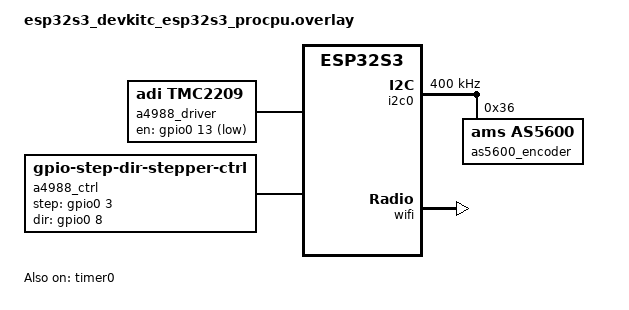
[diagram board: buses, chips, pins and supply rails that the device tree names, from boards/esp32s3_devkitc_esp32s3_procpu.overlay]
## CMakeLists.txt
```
cmake_minimum_required(VERSION 3.20.0)

list(APPEND ZEPHYR_EXTRA_MODULES
        "${CMAKE_CURRENT_LIST_DIR}/../../../zenbedded_transport"
        "${CMAKE_CURRENT_LIST_DIR}/../../../zenbedded_rcl"
)

find_package(Zephyr REQUIRED HINTS $ENV{ZEPHYR_BASE})

project(inverted_pendulum_tier1)
target_sources(app PRIVATE src/main.cpp)
target_compile_definitions(app PRIVATE _GNU_SOURCE _USE_MATH_DEFINES)
```

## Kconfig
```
menu "Inverted Pendulum Tier1 Demo"

config NTP_SERVER
    string "ip address of ntp server"
    default "127.0.0.1"

endmenu

source "Kconfig.zephyr"
```

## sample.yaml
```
sample:
  name: Inverted Pendulum Tier1 Demo
common:
  build_only: true
  tags: zenoh
tests:
  sample.zenbedded.inverted_pendulum_tier1:
    platform_allow:
      - esp32s3_devkitc/esp32s3/procpu
```

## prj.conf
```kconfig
CONFIG_CPP=y
CONFIG_STD_CPP17=y
CONFIG_REQUIRES_FULL_LIBC=y

CONFIG_ZENBEDDED_TIER_1=y
CONFIG_ZENBEDDED_RCL=y
CONFIG_ZENBEDDED_RCL_PUB_TOPIC="/zenbedded/inverted_pendulum/state"
CONFIG_ZENBEDDED_RCL_SUB_TOPIC="/zenbedded/inverted_pendulum/cmd"

CONFIG_NTP_SERVER="10.251.102.128"
CONFIG_ZENBEDDED_ZENOH_IP_PORT="10.251.102.128:7447"
CONFIG_ZENBEDDED_NODE_NAME="inverted_pendulum"
CONFIG_ZENBEDDED_QOS_RELIABLE=y

CONFIG_SHELL=y
CONFIG_NET_DHCPV4=y
CONFIG_WIFI=y
CONFIG_WIFI_CREDENTIALS_SHELL=y
CONFIG_WIFI_NM=y
CONFIG_WIFI_CREDENTIALS=y
CONFIG_WIFI_CREDENTIALS_CONNECT_STORED=y

CONFIG_STEPPER=y
CONFIG_GPIO=y
CONFIG_I2C=y
CONFIG_SENSOR=y
CONFIG_COUNTER=y
CONFIG_SNTP=y
```

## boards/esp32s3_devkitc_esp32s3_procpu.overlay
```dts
#include <zephyr/dt-bindings/gpio/gpio.h>

/ {
	aliases {
		stepper-driver = &a4988_driver;
		stepper-ctrl = &a4988_ctrl;
		encoder-driver = &as5600_encoder;
	};

	a4988_driver: a4988-stepper-driver {
		compatible = "adi,tmc2209";
		en-gpios = <&gpio0 13 GPIO_ACTIVE_LOW>;
		micro-step-res = <16>;
	};

	a4988_ctrl: a4988-stepper-controller {
		compatible = "zephyr,gpio-step-dir-stepper-ctrl";
		step-gpios = <&gpio0 3 GPIO_ACTIVE_HIGH>;
		dir-gpios = <&gpio0 8 GPIO_ACTIVE_HIGH>;
		stepper-driver = <&a4988_driver>;
		counter = <&counter0>;
	};

// Enable this and replace the alias for drivers like DRVxxx and TMC2209 so you can control microstepping

//	tmc2209_driver: tmc2209-stepper-driver {
//		compatible = "adi,tmc2209";
//		en-gpios = <&gpio0 4 GPIO_ACTIVE_HIGH>;
//		m0-gpios = <&gpio0 5 GPIO_ACTIVE_HIGH>;
//		m1-gpios = <&gpio0 6 GPIO_ACTIVE_HIGH>;
//		micro-step-res = <32>;
//	};
//
//	tmc2209_ctrl: tmc2209-stepper-controller {
//		compatible = "zephyr,gpio-step-dir-stepper-ctrl";
//		step-gpios = <&gpio0 7 GPIO_ACTIVE_HIGH>;
//		dir-gpios = <&gpio0 8 GPIO_ACTIVE_HIGH>;
//		invert-direction;
//		stepper-driver = <&tmc2209_driver>;
//      counter = <&counter0>;
//	};
};


&pinctrl {
	i2c0_default: i2c0_default {
		group1 {
			pinmux = <I2C0_SDA_GPIO1>, <I2C0_SCL_GPIO2>;
			bias-pull-up;
			drive-open-drain;
			output-high;
		};
	};
};


&i2c0 {
	status = "okay";
	pinctrl-0 = <&i2c0_default>;
	pinctrl-names = "default";
	clock-frequency = <I2C_BITRATE_FAST>;

	as5600_encoder: as5600@36 {
		compatible = "ams,as5600";
		reg = <0x36>;
		status = "okay";
	};
};


&wifi {
	status = "okay";
};


&timer0 {
	status = "okay";

	counter0: counter {
		status = "okay";
	};
};
```

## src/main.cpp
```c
// Copyright 2026 Open Source Robotics Foundation, Inc.
//
// Licensed under the Apache License, Version 2.0 (the "License");
// you may not use this file except in compliance with the License.
// You may obtain a copy of the License at
//
//     http://www.apache.org/licenses/LICENSE-2.0
//
// Unless required by applicable law or agreed to in writing, software
// distributed under the License is distributed on an "AS IS" BASIS,
// WITHOUT WARRANTIES OR CONDITIONS OF ANY KIND, either express or implied.
// See the License for the specific language governing permissions and
// limitations under the License.

#include <errno.h>
#include <esp_wifi.h>
#include <math.h>
#include <time.h>
#include <zephyr/device.h>
#include <zephyr/devicetree.h>
#include <zephyr/drivers/sensor.h>
#include <zephyr/drivers/stepper/stepper.h>
#include <zephyr/drivers/stepper/stepper_ctrl.h>
#include <zephyr/kernel.h>
#include <zephyr/logging/log.h>
#include <zephyr/net/net_if.h>
#include <zephyr/net/sntp.h>
#include <zephyr/net/wifi_mgmt.h>
#include "zenbedded_rcl/codecs.hpp"
#include "zenbedded_rcl/zenbedded_client.hpp"

LOG_MODULE_REGISTER(inverted_pendulum_tier1, LOG_LEVEL_INF);

constexpr uint32_t kWifiConnectTimeout = 15000;  // ms
constexpr uint32_t kIpv4AcquireTimeout = 30000;  // ms
constexpr uint32_t kControlPeriodMs = 10;
constexpr uint32_t kCommandTimeoutMs = 200;

// A stale command must stop the stepper rather than latch the last velocity forever.
constexpr uint32_t kCommandTimeoutCycles = kCommandTimeoutMs / kControlPeriodMs;

// Bracket the commanded rate to what an A4988 can actually step; outside it, stop instead.
constexpr uint64_t kMinMicrostepIntervalNs = 20000;
constexpr uint64_t kMaxMicrostepIntervalNs = 1000000000;

constexpr uint32_t motor_steps_per_rev = 200;

BUILD_ASSERT(
  DT_NODE_HAS_PROP(DT_ALIAS(stepper_driver), micro_step_res),
  "stepper_driver needs micro-step-res: without it the published angles are off by that factor");

constexpr uint32_t micro_step_res = DT_PROP_OR(DT_ALIAS(stepper_driver), micro_step_res, 1);
constexpr int32_t micro_steps_per_rev = static_cast<int32_t>(motor_steps_per_rev * micro_step_res);

const device * stepper_driver = DEVICE_DT_GET(DT_ALIAS(stepper_driver));
const device * stepper_ctrl = DEVICE_DT_GET(DT_ALIAS(stepper_ctrl));
const device * encoder_driver = DEVICE_DT_GET(DT_ALIAS(encoder_driver));

double microsteps_to_angle(int32_t microsteps)
{
  return 2.0 * M_PI * microsteps / micro_steps_per_rev;
}

void stop_stepper()
{
  int ret = stepper_ctrl_stop(stepper_ctrl);
  if (ret != 0)
  {
    LOG_ERR("Failed to stop stepper: %d", ret);
  }
}

void set_stepper_angular_vel(double rads_per_sec)
{
  if (!isfinite(rads_per_sec) || rads_per_sec == 0.0)
  {
    stop_stepper();
    return;
  }

  double microsteps_per_sec = fabs(rads_per_sec) * micro_steps_per_rev / (2 * M_PI);
  double interval_ns = 1e9 / microsteps_per_sec;

  if (
    !isfinite(interval_ns) || interval_ns < kMinMicrostepIntervalNs ||
    interval_ns > kMaxMicrostepIntervalNs)
  {
    LOG_WRN("Commanded velocity %f rad/s out of range, stopping", rads_per_sec);
    stop_stepper();
    return;
  }

  int ret = stepper_ctrl_set_microstep_interval(stepper_ctrl, static_cast<uint64_t>(interval_ns));
  if (ret != 0)
  {
    LOG_ERR("Failed to set microstep interval: %d", ret);
    return;
  }

  ret = stepper_ctrl_run(
    stepper_ctrl,
    (rads_per_sec > 0.0) ? STEPPER_CTRL_DIRECTION_POSITIVE : STEPPER_CTRL_DIRECTION_NEGATIVE);
  if (ret != 0)
  {
    LOG_ERR("Failed to run stepper: %d", ret);
  }
}

bool get_encoder_angle_deg(double * angle_rad)
{
  int ret = sensor_sample_fetch(encoder_driver);
  if (ret != 0)
  {
    return false;
  }

  sensor_value val{};
  ret = sensor_channel_get(encoder_driver, SENSOR_CHAN_ROTATION, &val);
  if (ret != 0)
  {
    return false;
  }

  *angle_rad = sensor_value_to_double(&val) * M_PI / 180;
  return true;
}

bool sync_time_from_ntp()
{
  sntp_time sntp_time;
  int rc = sntp_simple(CONFIG_NTP_SERVER, 5000, &sntp_time);

  if (rc < 0)
  {
    LOG_ERR("NTP sync failed: %d", rc);
    return false;
  }

  timespec ts{};
  ts.tv_sec = sntp_time.seconds;
  ts.tv_nsec = ((uint64_t)sntp_time.fraction * 1000000000ULL) >> 32;

  /* Update the central POSIX CLOCK_REALTIME */
  if (clock_settime(CLOCK_REALTIME, &ts) == 0)
  {
    tm timeinfo;
    gmtime_r(&ts.tv_sec, &timeinfo);

    char date_buf[32];
    strftime(date_buf, sizeof(date_buf), "%Y-%m-%d %H:%M:%S UTC", &timeinfo);

    LOG_INF("System time updated: %s (Epoch: %llds)", date_buf, ts.tv_sec);
    return true;
  }
  else
  {
    LOG_ERR("Failed to set CLOCK_REALTIME");
  }
  return false;
}

int main()
{
  if (!device_is_ready(stepper_driver) || !device_is_ready(stepper_ctrl))
  {
    LOG_ERR("Stepper devices not ready\n");
    return 0;
  }

  if (!device_is_ready(encoder_driver))
  {
    LOG_ERR("Encoder device not ready\n");
    return 0;
  }

  LOG_INF("Starting Inverted Pendulum Tier1");
  net_if * iface = net_if_get_default();

  LOG_INF("connecting to WiFi using stored credentials...");

  uint32_t timer = k_uptime_get_32();
  while (net_mgmt(NET_REQUEST_WIFI_CONNECT_STORED, iface, nullptr, 0) != 0)
  {
    if (k_uptime_get_32() - timer > kWifiConnectTimeout)
    {
      LOG_ERR("Wifi Connection Timedout ...");
      return -1;
    }
    LOG_ERR("WiFi connect-stored request failed... retrying...");
    k_sleep(K_MSEC(200));
  }

  LOG_INF("Connected... Waiting for IPV4 address");
  timer = k_uptime_get_32();
  while (net_if_ipv4_get_global_addr(iface, NET_ADDR_PREFERRED) == nullptr)
  {
    if (k_uptime_get_32() - timer > kIpv4AcquireTimeout)
    {
      LOG_ERR(
        "No IPV4 address within %u ms; check the stored WiFi credentials", kIpv4AcquireTimeout);
      return -1;
    }
    k_sleep(K_MSEC(200));
  }
  LOG_INF("Got IPV4 address");

  // Only the JointState header stamp needs wall-clock time, so a failure here must not take the rig
  // down.
  if (!sync_time_from_ntp())
  {
    LOG_WRN("Continuing without NTP sync; state timestamps will be wrong");
  }

  // Disable Wi-Fi power saving
  esp_wifi_set_ps(WIFI_PS_NONE);
  k_sleep(K_MSEC(200));

  static ZenbeddedClient<JointStateCodec, JointCommandCodec> client;
  const char * joint_names[] = {"stepper_motor", "magnetic_encoder"};
  int ret = client.init(
    50, {.frame_id = "base_link", .joint_names = joint_names, .num_joints = 2},
    {.frame_id = "base_link",
     .joint_names = joint_names,
     .num_joints = 2,
     .interface_name = "velocity"});
  if (ret != 0)
  {
    LOG_ERR("Failed to initialize ZenbeddedClient: %d", ret);
    return ret;
  }

  ret = stepper_enable(stepper_driver);
  if (ret != 0)
  {
    LOG_ERR("Failed to enable stepper: %d", ret);
    return ret;
  }

  int32_t stepper_position = 0;
  double stepper_angle = 0, encoder_angle = 0;
  double stepper_angle_offset = 0, encoder_angle_offset = 0;
  double stepper_angular_velocity = 0;

  ret = stepper_ctrl_get_actual_position(stepper_ctrl, &stepper_position);
  if (ret != 0)
  {
    LOG_ERR("Failed to read initial stepper position: %d", ret);
    return ret;
  }
  stepper_angle_offset = microsteps_to_angle(stepper_position);

  if (!get_encoder_angle_deg(&encoder_angle_offset))
  {
    LOG_ERR("Failed to read initial encoder angle; cannot calibrate the pendulum zero");
    return -EIO;
  }

  uint32_t last_command_count = client.accepted_command_count();
  uint32_t cycles_since_command = 0;

  while (true)
  {
    if (stepper_ctrl_get_actual_position(stepper_ctrl, &stepper_position) == 0)
    {
      stepper_angle = microsteps_to_angle(stepper_position) - stepper_angle_offset;
    }

    double raw_encoder_angle = 0;
    if (get_encoder_angle_deg(&raw_encoder_angle))
    {
      encoder_angle = raw_encoder_angle - encoder_angle_offset;
    }

    double states[] = {stepper_angle, encoder_angle};
    timespec tv{};
    clock_gettime(CLOCK_REALTIME, &tv);
    JointStateCodec::Value state_val = {
      .stamp_sec = (int32_t)tv.tv_sec, .stamp_nanosec = (uint32_t)tv.tv_nsec, .positions = states};

    double cmd[2];
    JointCommandCodec::Value cmd_val{.values = cmd};

    client.write_state(state_val);

    const uint32_t command_count = client.accepted_command_count();
    if (command_count != last_command_count)
    {
      last_command_count = command_count;
      cycles_since_command = 0;
      if (client.read_command(cmd_val))
      {
        stepper_angular_velocity = cmd[0];
      }
    }
    else if (cycles_since_command < kCommandTimeoutCycles)
    {
      ++cycles_since_command;
    }
    else if (stepper_angular_velocity != 0.0)
    {
      LOG_WRN("No command for %u ms, stopping stepper", kCommandTimeoutMs);
      stepper_angular_velocity = 0.0;
    }

    set_stepper_angular_vel(stepper_angular_velocity);

    k_sleep(K_MSEC(kControlPeriodMs));
  }

  client.destroy();
  return 0;
}
```
